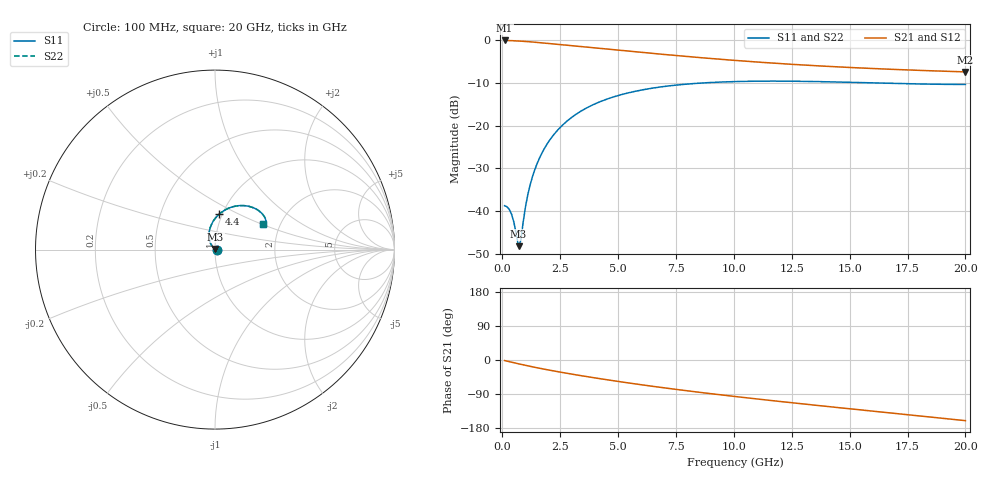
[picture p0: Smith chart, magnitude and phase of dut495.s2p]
! Touchstone file exported from HFSS 2024.1.0
!  File:  C:/UserFiles/LocalFiles/RDL_TSV_Batchsim/temp_RDL_TSV_495_1779736091.aedt
!  Generated:  03:19:06 AM May 26, 2026
!  Design:  RDL_TSV
!  Project:  temp_RDL_TSV_495_1779736091
!  Setup:  Setup1
!  Solution:  Sweep
! Variables:
!  dtsv = 13.7um
!  hbump = 3um
!  htsv = 54.51um
!  ldown = 308.35um
!  lrdl = 336.08um
!  p = 40
!  p1 = 47.64um
!  rhole = 10um
!  subl = 2269.37um
!  t = 450um
!  tdown = 4.53um
!  trdl = 4.05um
!  viad = 10um
!  wdown = 20.37um
!  wrdl = 15.21um
!  xbump = 18um
# GHz S MA R 50.000000
! Terminal data exported
! Port[1] = TM1_1_T1
! Port[2] = TM1_4_T1
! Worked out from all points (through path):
!   200 points, 100 MHz to 20 GHz, reference 50 ohm
!   highest |S21| = -0.11 dB at 100 MHz (marker M1); lowest = -7.5 dB at 20 GHz (marker M2)
!   group delay of S21, straight-line fit = 20.9 ps
!   lowest |S11| = -48.2 dB at 700 MHz (marker M3), VSWR 1.01, Z = 50.3 + j0.301 ohm
!   |S11| at or under -10 dB: start of sweep to 8.758 GHz; 15.86 GHz to end of sweep
!   |S22| runs from -48.2 to -9.6 dB; largest |S21 - S12| = 1.3e-14
!   S11 on the Smith chart (normalised r, x): 100 MHz: 1.02, +0.00; 4.4 GHz: 0.97, +0.40; 20 GHz: 1.63, +0.51
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0.1  0.0116 1.8  0.9879 -1.5  0.9879 -1.5  0.0116 1.8
! Gamma 0 0 0 0
! Port Impedance 50 0 50 0
0.3  0.01053 3.6  0.9848 -4.4  0.9848 -4.4  0.01053 3.6
0.4  0.009229 5.0  0.9826 -5.8  0.9826 -5.8  0.009231 5.0
0.5  0.007466 9.1  0.9799 -7.3  0.9799 -7.3  0.00747 9.1
0.7  0.003907 50.1  0.9736 -10.0  0.9736 -10.0  0.003908 50.0
0.8  0.004555 94.6  0.9699 -11.4  0.9699 -11.4  0.00455 94.5
1  0.0112 126.2  0.9616 -14.1  0.9616 -14.1  0.01118 126.1
1.2  0.02019 130.1  0.9524 -16.7  0.9524 -16.7  0.02017 130.1
1.4  0.03037 128.9  0.9424 -19.2  0.9424 -19.2  0.03035 128.9
1.6  0.04136 126.1  0.932 -21.7  0.932 -21.7  0.04133 126.1
2  0.06483 119.3  0.9105 -26.4  0.9105 -26.4  0.06478 119.3
2.4  0.08909 112.2  0.8889 -30.9  0.8889 -30.9  0.08904 112.2
2.9  0.1191 103.9  0.8625 -36.2  0.8625 -36.2  0.119 103.9
3.5  0.1532 95.0  0.832 -42.3  0.832 -42.3  0.1531 95.0
4.4  0.1985 83.4  0.7886 -51.0  0.7886 -51.0  0.1984 83.3
5.5  0.2434 71.6  0.7389 -61.0  0.7389 -61.0  0.2432 71.6
6.8  0.282 60.4  0.6853 -72.0  0.6853 -72.0  0.2819 60.4
8.4  0.3118 49.6  0.6275 -84.4  0.6275 -84.4  0.3116 49.6
10.1  0.3271 40.9  0.5762 -96.7  0.5762 -96.7  0.3269 40.9
13.4  0.3276 30.3  0.5031 -118.6  0.5031 -118.6  0.3273 30.3
16.7  0.312 26.5  0.4558 -139.4  0.4558 -139.4  0.3117 26.6
20  0.3026 28.2  0.4241 -160.0  0.4241 -160.0  0.3023 28.2
